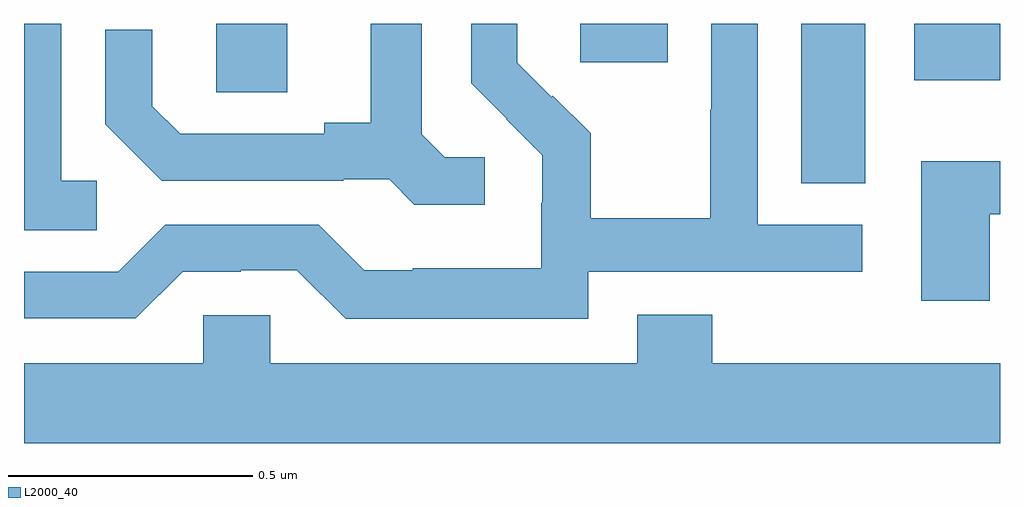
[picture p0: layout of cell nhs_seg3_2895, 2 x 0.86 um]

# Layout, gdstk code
import gdstk
lib = gdstk.Library(unit=1e-6, precision=1e-09)
def R(c, l, rs):  # rectangles x0, y0, x1, y1
    for r in rs: c.add(gdstk.rectangle(r[:2], r[2:], *l))
def P(c, l, *ps):  # polygons
    for p in ps: c.add(gdstk.Polygon(p, *l))
L2000_40 = (2000, 40)

nhs_seg3_2895 = lib.new_cell('nhs_seg3_2895')
R(nhs_seg3_2895, L2000_40, [(147.593,744.073,147.724,744.4), (146.394,744.259,146.539,744.4), (147.824,744.284,148,744.4), (147.14,744.321,147.319,744.4)])
P(nhs_seg3_2895, L2000_40, [(147.156,743.892),(147.718,743.892),(147.718,743.988),(147.504,743.988),(147.504,744.4),(147.408,744.4),(147.408,744.224),(147.406,744.224),(147.406,744.001),(147.161,744.001),(147.161,744.175),(147.084,744.252),(147.081,744.249),(147.011,744.32),(147.011,744.4),(146.916,744.4),(146.916,744.278),(146.989,744.205),(146.988,744.204),(147.062,744.13),(147.062,744.033),(147.06,744.033),(147.06,743.899),(146.797,743.899),(146.797,743.895),(146.697,743.895),(146.604,743.988),(146.289,743.988),(146.193,743.892),(146,743.892),(146,743.796),(146.229,743.796),(146.325,743.892),(146.444,743.892),(146.444,743.895),(146.559,743.895),(146.659,743.795),(147.156,743.795)],
  [(146.149,744.078),(146.076,744.078),(146.076,744.4),(146,744.4),(146,743.977),(146.149,743.977)],
  [(146.944,744.126),(146.862,744.126),(146.815,744.173),(146.815,744.4),(146.711,744.4),(146.711,744.197),(146.615,744.197),(146.615,744.174),(146.32,744.174),(146.263,744.231),(146.263,744.388),(146.166,744.388),(146.166,744.194),(146.282,744.078),(146.654,744.078),(146.654,744.081),(146.748,744.081),(146.8,744.029),(146.944,744.029)],
  [(147.979,744.009),(148,744.009),(148,744.118),(147.839,744.118),(147.839,743.832),(147.979,743.832)],
  [(148,743.704),(147.41,743.704),(147.41,743.803),(147.257,743.803),(147.257,743.704),(146.505,743.704),(146.505,743.802),(146.367,743.802),(146.367,743.704),(146,743.704),(146,743.54),(148,743.54)])

lib.write_gds('nhs_seg3_2895.gds')
